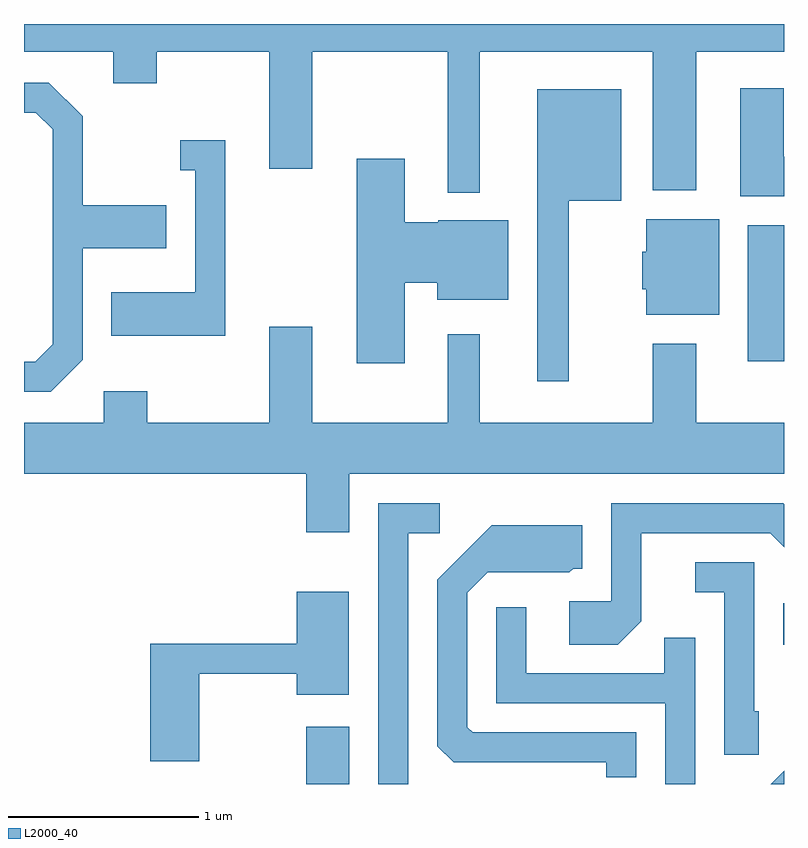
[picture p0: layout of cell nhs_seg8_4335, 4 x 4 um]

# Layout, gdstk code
import gdstk
lib = gdstk.Library(unit=1e-6, precision=1e-09)
def R(c, l, rs):  # rectangles x0, y0, x1, y1
    for r in rs: c.add(gdstk.rectangle(r[:2], r[2:], *l))
def P(c, l, *ps):  # polygons
    for p in ps: c.add(gdstk.Polygon(p, *l))
L2000_40 = (2000, 40)

nhs_seg8_4335 = lib.new_cell('nhs_seg8_4335')
R(nhs_seg8_4335, L2000_40, [(317.096,1830.342,317.324,1830.644), (319.606,1831.076,319.611,1831.294), (319.421,1832.566,319.611,1833.284)])
P(nhs_seg8_4335, L2000_40, [(318.009,1834.196),(318.921,1834.196),(318.921,1833.466),(319.149,1833.466),(319.149,1834.196),(319.611,1834.196),(319.611,1834.342),(315.611,1834.342),(315.611,1834.196),(316.081,1834.196),(316.081,1834.031),(316.309,1834.031),(316.309,1834.196),(316.901,1834.196),(316.901,1833.581),(317.129,1833.581),(317.129,1834.196),(317.841,1834.196),(317.841,1833.453),(318.009,1833.453)],
  [(315.919,1832.574),(315.919,1833.161),(316.359,1833.161),(316.359,1833.389),(315.919,1833.389),(315.919,1833.857),(315.742,1834.034),(315.611,1834.034),(315.611,1833.876),(315.674,1833.876),(315.761,1833.789),(315.761,1832.657),(315.669,1832.564),(315.611,1832.564),(315.611,1832.406),(315.752,1832.406)],
  [(319.611,1833.644),(319.609,1833.644),(319.609,1834.004),(319.381,1834.004),(319.381,1833.436),(319.611,1833.436)],
  [(318.479,1833.411),(318.754,1833.411),(318.754,1833.999),(318.311,1833.999),(318.311,1832.463),(318.479,1832.463)],
  [(316.669,1833.729),(316.433,1833.729),(316.433,1833.571),(316.511,1833.571),(316.511,1832.929),(316.071,1832.929),(316.071,1832.701),(316.669,1832.701)],
  [(317.614,1832.981),(317.786,1832.981),(317.786,1832.891),(318.159,1832.891),(318.159,1833.309),(317.79,1833.309),(317.79,1833.299),(317.614,1833.299),(317.614,1833.634),(317.361,1833.634),(317.361,1832.556),(317.614,1832.556)],
  [(319.269,1833.314),(318.886,1833.314),(318.886,1833.144),(318.866,1833.144),(318.866,1832.946),(318.886,1832.946),(318.886,1832.811),(319.269,1832.811)],
  [(319.611,1832.244),(319.149,1832.244),(319.149,1832.659),(318.921,1832.659),(318.921,1832.244),(318.009,1832.244),(318.009,1832.708),(317.841,1832.708),(317.841,1832.244),(317.129,1832.244),(317.129,1832.749),(316.901,1832.749),(316.901,1832.244),(316.259,1832.244),(316.259,1832.409),(316.031,1832.409),(316.031,1832.244),(315.611,1832.244),(315.611,1831.976),(317.096,1831.976),(317.096,1831.666),(317.324,1831.666),(317.324,1831.976),(319.611,1831.976)],
  [(318.859,1831.199),(318.859,1831.661),(319.539,1831.661),(319.611,1831.589),(319.611,1831.815),(319.607,1831.819),(318.701,1831.819),(318.701,1831.304),(318.481,1831.304),(318.481,1831.076),(318.737,1831.076)],
  [(317.634,1831.661),(317.798,1831.661),(317.798,1831.819),(317.476,1831.819),(317.476,1830.342),(317.634,1830.342)],
  [(318.834,1830.614),(317.972,1830.614),(317.944,1830.642),(317.944,1831.349),(318.052,1831.456),(318.482,1831.456),(318.502,1831.476),(318.549,1831.476),(318.549,1831.704),(318.074,1831.704),(317.786,1831.417),(317.786,1830.542),(317.872,1830.456),(318.676,1830.456),(318.676,1830.378),(318.834,1830.378)],
  [(319.479,1830.724),(319.454,1830.724),(319.454,1831.509),(319.143,1831.509),(319.143,1831.351),(319.296,1831.351),(319.296,1830.496),(319.479,1830.496)],
  [(316.534,1830.921),(317.046,1830.921),(317.046,1830.811),(317.319,1830.811),(317.319,1831.354),(317.046,1831.354),(317.046,1831.079),(316.276,1831.079),(316.276,1830.461),(316.534,1830.461)],
  [(319.144,1831.113),(318.981,1831.113),(318.981,1830.924),(318.254,1830.924),(318.254,1831.273),(318.096,1831.273),(318.096,1830.766),(318.986,1830.766),(318.986,1830.342),(319.144,1830.342)],
  [(319.611,1830.412),(319.542,1830.342),(319.611,1830.342)])

lib.write_gds('nhs_seg8_4335.gds')
